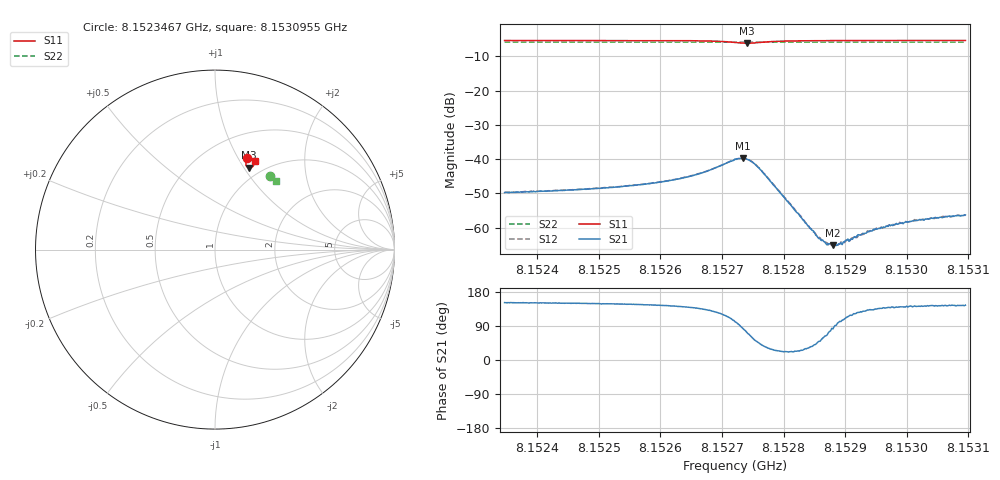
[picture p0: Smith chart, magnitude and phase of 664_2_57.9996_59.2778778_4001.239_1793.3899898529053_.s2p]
#  HZ  S  RI  R  50.00
! Rohde & Schwarz Vector Network Analyzer
! Rohde-Schwarz,ZNB20-2Port,1311601062101988,3.16
! Created: UTC 3/21/2024, 1:20:05 AM
! freq[Hz]  re:S11  im:S11  re:S21  im:S21  re:S12  im:S12  re:S22  im:S22
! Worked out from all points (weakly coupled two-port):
!   401 points, 8.1523467 GHz to 8.1530955 GHz, reference 50 ohm
!   highest |S21| = -39.74 dB at 8.1527342 GHz (marker M1); lowest = -65.2 dB at 8.1528803 GHz (marker M2)
!   lowest |S11| = -6.1 dB at 8.1527399 GHz (marker M3), VSWR 2.94, Z = 43.6 + j52.5 ohm
!   |S11| at or under -10 dB: nowhere
!   |S22| runs from -5.9 to -5.8 dB; largest |S21 - S12| = 0.00024
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8.15234673e9  0.1806 0.5096  -0.00285 0.00155  -0.00283 0.0016  0.3041 0.4114
8.15247216e9  0.1906 0.5058  -0.00311 0.00184  -0.0031 0.00191  0.3105 0.4064
8.15254329e9  0.197 0.5029  -0.0034 0.00219  -0.00336 0.00225  0.314 0.4034
8.15259758e9  0.2028 0.4996  -0.00376 0.00265  -0.00373 0.00273  0.3168 0.4012
8.15265561e9  0.2107 0.4926  -0.00432 0.00395  -0.00425 0.00403  0.3197 0.3986
8.15267995e9  0.2145 0.4862  -0.00452 0.00518  -0.00447 0.0053  0.3208 0.3973
8.15272113e9  0.2092 0.4612  -0.00191 0.00978  -0.00193 0.00969  0.3224 0.3948
8.15273424e9  0.1948 0.455  0.00132 0.0102  0.00126 0.0103  0.3223 0.3944
8.15273985e9  0.187 0.456  0.0028 0.00963  0.00286 0.00965  0.3223 0.3943
8.15275108e9  0.1753 0.4652  0.00489 0.00728  0.00494 0.0073  0.3224 0.3944
8.15276419e9  0.172 0.479  0.00521 0.00437  0.00521 0.00435  0.3234 0.3944
8.15284656e9  0.195 0.5  0.000738 0.000535  0.000758 0.00053  0.3282 0.3915
8.15285592e9  0.1966 0.5  0.000482 0.000524  0.000544 0.000516  0.3287 0.3911
8.15286715e9  0.1985 0.5  0.000278 0.000549  0.000295 0.00054  0.3292 0.3907
8.15287651e9  0.2 0.5  0.000129 0.000568  0.000133 0.000552  0.3298 0.3902
8.15288025e9  0.2004 0.4999  7.74e-05 0.000542  6.75e-05 0.000546  0.3298 0.39
8.15289148e9  0.202 0.4996  -0.000119 0.000559  -9.42e-05 0.000576  0.3304 0.3896
8.15292518e9  0.206 0.4988  -0.000475 0.000619  -0.000469 0.000615  0.3322 0.3881
8.15294952e9  0.2087 0.4982  -0.000661 0.000672  -0.000664 0.000695  0.3332 0.387
8.15297198e9  0.2107 0.4976  -0.000816 0.000719  -0.000804 0.000743  0.3345 0.3862
8.15301691e9  0.2146 0.4963  -0.000992 0.000789  -0.00105 0.000796  0.3366 0.3842
8.15309553e9  0.221 0.494  -0.00125 0.000883  -0.00122 0.00085  0.3404 0.3807
